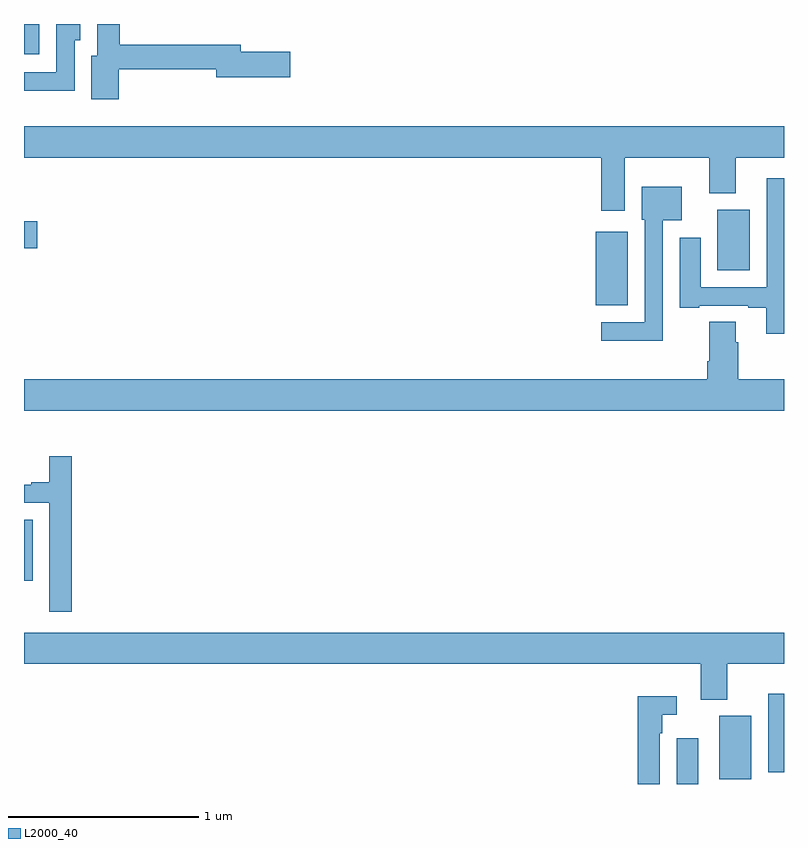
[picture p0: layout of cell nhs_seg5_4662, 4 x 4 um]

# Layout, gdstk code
import gdstk
lib = gdstk.Library(unit=1e-6, precision=1e-09)
def R(c, l, rs):  # rectangles x0, y0, x1, y1
    for r in rs: c.add(gdstk.rectangle(r[:2], r[2:], *l))
def P(c, l, *ps):  # polygons
    for p in ps: c.add(gdstk.Polygon(p, *l))
L2000_40 = (2000, 40)

nhs_seg5_4662 = lib.new_cell('nhs_seg5_4662')
R(nhs_seg5_4662, L2000_40, [(388.658,850.824,388.828,851.158), (388.916,850.86,389,851.275), (385,851.87,385.045,852.19), (388.01,853.319,388.177,853.705), (388.649,853.502,388.819,853.822), (385,853.619,385.069,853.761), (385,854.64,385.081,854.799)])
P(nhs_seg5_4662, L2000_40, [(385.266,854.713),(385.297,854.713),(385.297,854.799),(385.17,854.799),(385.17,854.544),(385,854.544),(385,854.448),(385.045,854.448),(385.045,854.447),(385.266,854.447)],
  [(385.499,854.562),(386.012,854.562),(386.012,854.519),(386.401,854.519),(386.401,854.654),(386.14,854.654),(386.14,854.69),(385.504,854.69),(385.504,854.799),(385.385,854.799),(385.385,854.631),(385.355,854.631),(385.355,854.403),(385.499,854.403)],
  [(388.162,854.096),(388.607,854.096),(388.607,853.907),(388.747,853.907),(388.747,854.096),(389,854.096),(389,854.26),(385,854.26),(385,854.096),(388.037,854.096),(388.037,853.815),(388.162,853.815)],
  [(389,853.987),(388.908,853.987),(388.908,853.413),(388.561,853.413),(388.561,853.675),(388.451,853.675),(388.451,853.305),(388.555,853.305),(388.555,853.317),(388.811,853.317),(388.811,853.305),(388.907,853.305),(388.907,853.17),(389,853.17)],
  [(388.362,853.766),(388.462,853.766),(388.462,853.942),(388.25,853.942),(388.25,853.77),(388.266,853.77),(388.266,853.23),(388.038,853.23),(388.038,853.133),(388.362,853.133)],
  [(389,852.928),(388.76,852.928),(388.76,853.124),(388.747,853.124),(388.747,853.232),(388.607,853.232),(388.607,853.024),(388.595,853.024),(388.595,852.928),(385,852.928),(385,852.764),(389,852.764)],
  [(385.25,852.523),(385.133,852.523),(385.133,852.388),(385.037,852.388),(385.037,852.375),(385,852.375),(385,852.279),(385.134,852.279),(385.134,851.706),(385.25,851.706)],
  [(388.702,851.432),(389,851.432),(389,851.596),(385,851.596),(385,851.432),(388.562,851.432),(388.562,851.243),(388.702,851.243)],
  [(388.347,851.066),(388.359,851.066),(388.359,851.163),(388.435,851.163),(388.435,851.26),(388.231,851.26),(388.231,850.799),(388.347,850.799)],
  [(388.548,850.8),(388.548,851.041),(388.436,851.041),(388.436,850.799),(388.549,850.799)])

lib.write_gds('nhs_seg5_4662.gds')
